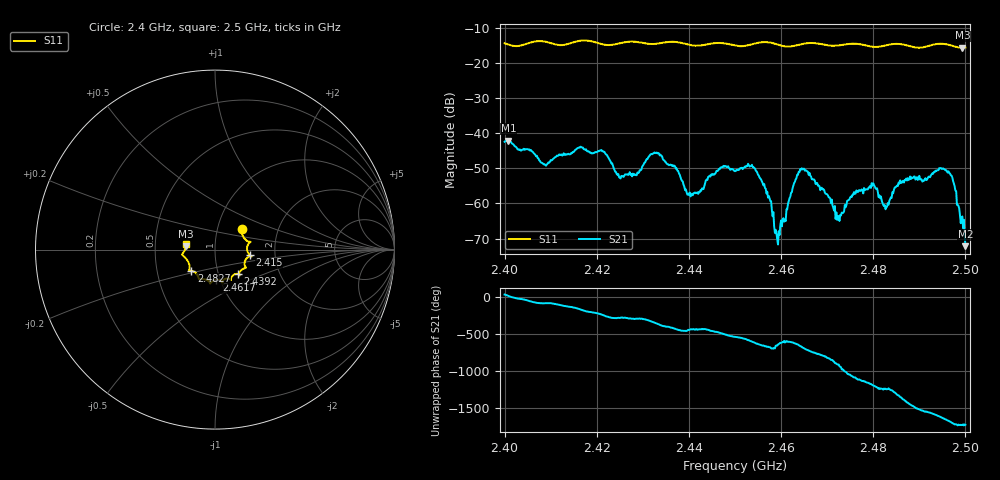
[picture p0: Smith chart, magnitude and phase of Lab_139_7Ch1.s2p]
# Hz S RI R 50
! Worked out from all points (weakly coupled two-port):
!   601 points, 2.4 GHz to 2.5 GHz, reference 50 ohm
!   highest |S21| = -42.11 dB at 2.4008 GHz (marker M1); lowest = -72.2 dB at 2.5 GHz (marker M2)
!   lowest |S11| = -15.7 dB at 2.4993 GHz (marker M3), VSWR 1.39, Z = 36 + j1.46 ohm
!   |S11| at or under -10 dB: start of sweep to end of sweep
!   S12 and S22 are empty: the file has one direction only
!   S11 on the Smith chart (normalised r, x): 2.4 GHz: 1.31, +0.31; 2.415 GHz: 1.48, -0.10; 2.4392 GHz: 1.24, -0.35; 2.4617 GHz: 0.96, -0.34; 2.4827 GHz: 0.75, -0.18; 2.5 GHz: 0.72, +0.05
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2.4e9  0.1505 0.115  0.00653 0.00374  0 0  0 0
2.400833e9  0.1498 0.1029  0.00769 0.00152  0 0  0 0
2.408667e9  0.1964 0.0423  0.00011 -0.00361  0 0  0 0
2.415e9  0.1935 -0.0315  -0.00445 -0.00304  0 0  0 0
2.416667e9  0.2037 -0.0384  -0.00624 -0.000417  0 0  0 0
2.425333e9  0.1678 -0.0929  0.000416 0.00241  0 0  0 0
2.433333e9  0.1359 -0.1307  0.00515 -0.000816  0 0  0 0
2.439167e9  0.1278 -0.1356  -0.000236 -0.00152  0 0  0 0
2.45e9  0.0713 -0.1615  -0.00287 8.12e-05  0 0  0 0
2.4545e9  0.0396 -0.1852  -0.00016 0.00293  0 0  0 0
2.459167e9  0.0371 -0.1789  0.000145 0.000269  0 0  0 0
2.461667e9  0.00817 -0.1698  -0.000395 0.001  0 0  0 0
2.464e9  -0.0198 -0.1805  0.00142 0.00242  0 0  0 0
2.466667e9  -0.0268 -0.1897  0.00202 -0.000897  0 0  0 0
2.472333e9  -0.0637 -0.1641  -0.000637 0.000163  0 0  0 0
2.479667e9  -0.1019 -0.136  -0.000493 -0.00188  0 0  0 0
2.482667e9  -0.1319 -0.1177  -0.000775 -0.000281  0 0  0 0
2.483333e9  -0.1376 -0.1172  -0.000875 -0.000391  0 0  0 0
2.495e9  -0.1845 -0.0271  -0.00302 0.000702  0 0  0 0
2.497167e9  -0.174 -0.0133  -0.000296 0.00231  0 0  0 0
2.499333e9  -0.1625 0.0197  0.000213 0.000616  0 0  0 0
2.5e9  -0.1619 0.0317  6.73e-05 0.000237  0 0  0 0
